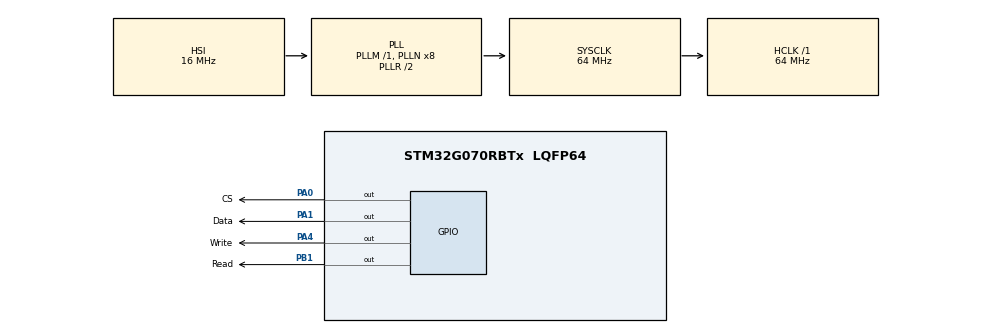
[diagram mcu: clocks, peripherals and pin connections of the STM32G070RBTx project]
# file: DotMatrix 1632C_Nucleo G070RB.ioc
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Mcu.Family=STM32G0
Mcu.Name=STM32G070RBTx
Mcu.Package=LQFP64
PA0.GPIO_Label=CS
PA0.GPIO_ModeDefaultOutputPP=GPIO_MODE_OUTPUT_PP
PA0.GPIO_PuPd=GPIO_NOPULL
PA0.Signal=GPIO_Output
PA1.GPIO_Label=Data
PA1.GPIO_ModeDefaultOutputPP=GPIO_MODE_OUTPUT_PP
PA1.GPIO_PuPd=GPIO_NOPULL
PA1.Signal=GPIO_Output
PA4.GPIO_Label=Write
PA4.GPIO_ModeDefaultOutputPP=GPIO_MODE_OUTPUT_PP
PA4.GPIO_PuPd=GPIO_NOPULL
PA4.Signal=GPIO_Output
PB1.GPIO_Label=Read
PB1.GPIO_ModeDefaultOutputPP=GPIO_MODE_OUTPUT_PP
PB1.GPIO_PuPd=GPIO_NOPULL
PB1.Signal=GPIO_Output
PC14-OSC32_IN\ (PC14).Mode=LSE-External-Oscillator
PC14-OSC32_IN\ (PC14).Signal=RCC_OSC32_IN
PC15-OSC32_OUT\ (PC15).Mode=LSE-External-Oscillator
PC15-OSC32_OUT\ (PC15).Signal=RCC_OSC32_OUT
PF0-OSC_IN\ (PF0).Mode=HSE-External-Oscillator
PF0-OSC_IN\ (PF0).Signal=RCC_OSC_IN
PF1-OSC_OUT\ (PF1).Mode=HSE-External-Oscillator
PF1-OSC_OUT\ (PF1).Signal=RCC_OSC_OUT
ProjectManager.HeapSize=0x200
ProjectManager.StackSize=0x400
ProjectManager.TargetToolchain=MDK-ARM V5.27
RCC.ADCFreq_Value=64000000
RCC.AHBFreq_Value=64000000
RCC.CortexFreq_Value=64000000
RCC.EXTERNAL_CLOCK_VALUE=48000
RCC.HCLKFreq_Value=64000000
RCC.HSE_VALUE=8000000
RCC.HSI_VALUE=16000000
RCC.RTCClockSelection=RCC_RTCCLKSOURCE_LSE
RCC.SYSCLKFreq_VALUE=64000000
RCC.SYSCLKSource=RCC_SYSCLKSOURCE_PLLCLK
RCC.VCOOutputFreq_Value=128000000
TIM1.Prescaler=64-1
VP_RTC_VS_RTC_Activate.Mode=RTC_Enabled
VP_RTC_VS_RTC_Calendar.Mode=RTC_Calendar
VP_SYS_VS_DBSignals.Mode=DisableDeadBatterySignals
VP_TIM1_VS_ClockSourceINT.Mode=Internal
board=custom

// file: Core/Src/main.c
/* USER CODE BEGIN Header */
/**
  ******************************************************************************
  * @file           : main.c
  * @brief          : Main program body
  ******************************************************************************
  * @attention
  *
  * <h2><center>&copy; Copyright (c) 2022 STMicroelectronics.
  * All rights reserved.</center></h2>
  *
  * This software component is licensed by ST under BSD 3-Clause license,
  * the "License"; You may not use this file except in compliance with the
  * License. You may obtain a copy of the License at:
  *                        opensource.org/licenses/BSD-3-Clause
  *
  ******************************************************************************
  */
/* USER CODE END Header */
#include "main.h"

/* USER CODE BEGIN Includes */
#include "stdio.h"
/* USER CODE END Includes */

/* USER CODE BEGIN PTD */
#ifdef __GNUC__
  /* With GCC, small printf (option LD Linker->Libraries->Small printf
     set to 'Yes') calls __io_putchar() */
  #define PUTCHAR_PROTOTYPE int __io_putchar(int ch)
#else
  #define PUTCHAR_PROTOTYPE int fputc(int ch, FILE *f)
#endif /* __GNUC__ */
/* USER CODE END PTD */

RTC_HandleTypeDef hrtc;

TIM_HandleTypeDef htim1;

/* USER CODE BEGIN PV */

// Block Segment
uint16_t firstSeg[] = {0xfe, 0xfe, 0x35, 0x31, 0x2d, 0x29, 0x25, 0x21, 0x1d, 0x19, 0x15, 0x11, 0x0d, 0x09, 0x05, 0x01};
uint16_t secSeg[] 	= {0xfe, 0xfe, 0x34, 0x30, 0x2c, 0x28, 0x24, 0x20, 0x1c, 0x18, 0x14, 0x10, 0x0c, 0x08, 0x04, 0x00};

// Variables for time
uint8_t jam = 0, menit = 0, detik = 0;
char time[10];
char date[10];
RTC_DateTypeDef gDate;
RTC_TimeTypeDef gTime;
/* USER CODE END PV */

void SystemClock_Config(void);
static void MX_GPIO_Init(void);
static void MX_TIM1_Init(void);
static void MX_RTC_Init(void);
/* USER CODE BEGIN PFP */
// Function for sending data to HT1632C
void delay_us (uint16_t us);
void CS();
void CMD_100_Command(uint16_t byte);
void CMD_101_Write(uint16_t byte, uint8_t data);
void clear101();
void init();
uint16_t convertNumber(int num);

// Function for timer
void displayHour(uint8_t hr);
void displayMinSec(uint8_t min, uint8_t sec);
void setTime(void);
void get_time(void) ;
void initTime(uint8_t hr, uint8_t mn, uint8_t sec);
/* USER CODE END PFP */

/* USER CODE BEGIN 0 */
void initTime(uint8_t hr, uint8_t mn, uint8_t sec)
{
	jam   = hr;
	menit = mn;
	detik	= sec;
}

void setTime(void)
{
  RTC_TimeTypeDef sTime = {0};
  RTC_DateTypeDef sDate = {0};

  sTime.Hours = 0x15;
  sTime.Minutes = 0x40;
  sTime.Seconds = 0x0;
  sTime.SubSeconds = 0x0;
  sTime.DayLightSaving = RTC_DAYLIGHTSAVING_NONE;
  sTime.StoreOperation = RTC_STOREOPERATION_RESET;
  if (HAL_RTC_SetTime(&hrtc, &sTime, RTC_FORMAT_BCD) != HAL_OK)
  {
    Error_Handler();
  }
  sDate.WeekDay = RTC_WEEKDAY_FRIDAY;
  sDate.Month = RTC_MONTH_AUGUST;
  sDate.Date = 0x19;
  sDate.Year = 0x22;

  if (HAL_RTC_SetDate(&hrtc, &sDate, RTC_FORMAT_BCD) != HAL_OK)
  {
    Error_Handler();
  }
}

void get_time(void)
{
	/* Get the RTC current Time */
	HAL_RTC_GetTime(&hrtc, &gTime, RTC_FORMAT_BIN);
	/* Get the RTC current Date */
	HAL_RTC_GetDate(&hrtc, &gDate, RTC_FORMAT_BIN);
	/* Display time Format: hh:mm:ss */
	sprintf((char*)time,"%02d:%02d:%02d",gTime.Hours, gTime.Minutes, gTime.Seconds);
	/* Display date Format: dd-mm-yy */
	sprintf((char*)date,"%02d-%02d-%2d",gDate.Date, gDate.Month, 2000 + gDate.Year);
}

/* USER CODE END 0 */

int main(void)
{

  /* MCU Configuration--------------------------------------------------------*/

  /* Reset of all peripherals, Initializes the Flash interface and the Systick. */
  HAL_Init();

  /* Configure the system clock */
  SystemClock_Config();

  /* Initialize all configured peripherals */
  MX_GPIO_Init();
  MX_TIM1_Init();
  MX_RTC_Init();
  /* USER CODE BEGIN 2 */
	HAL_TIM_Base_Start(&htim1);			// Start timer 1 for delay_Us function
	init();													// Initialize display

	// Set time
	if (HAL_RTCEx_BKUPRead(&hrtc, RTC_BKP_DR1) != 0x32f2)
	{
		setTime();
	}
  /* USER CODE END 2 */

  /* Infinite loop */
  while (1)
  {

    /* USER CODE BEGIN 3 */
		CMD_101_Write(0xe, 0x2);			// Titik dua kiri
		CMD_101_Write(0x12, 0x2);			// Titik dua kanan

		get_time();

		displayMinSec(gTime.Minutes, gTime.Seconds);
		displayHour(gTime.Hours);

		detik++;
		if (detik == 60)
		{
			detik = 0;
			menit++;
		}
		else if (menit == 60)
		{
			detik = 0;
			menit = 0;
			jam++;
		}
		else if (jam == 24)
		{
			jam = 0;
			menit = 0;
			detik++;
		}
		HAL_Delay(1000);
  }
  /* USER CODE END 3 */
}

void SystemClock_Config(void)
{
  RCC_OscInitTypeDef RCC_OscInitStruct = {0};
  RCC_ClkInitTypeDef RCC_ClkInitStruct = {0};
  RCC_PeriphCLKInitTypeDef PeriphClkInit = {0};

  /** Configure the main internal regulator output voltage
  */
  HAL_PWREx_ControlVoltageScaling(PWR_REGULATOR_VOLTAGE_SCALE1);
  /** Configure LSE Drive Capability
  */
  HAL_PWR_EnableBkUpAccess();
  __HAL_RCC_LSEDRIVE_CONFIG(RCC_LSEDRIVE_LOW);
  /** Initializes the RCC Oscillators according to the specified parameters
  * in the RCC_OscInitTypeDef structure.
  */
  RCC_OscInitStruct.OscillatorType = RCC_OSCILLATORTYPE_HSI|RCC_OSCILLATORTYPE_LSE;
  RCC_OscInitStruct.LSEState = RCC_LSE_ON;
  RCC_OscInitStruct.HSIState = RCC_HSI_ON;
  RCC_OscInitStruct.HSIDiv = RCC_HSI_DIV1;
  RCC_OscInitStruct.HSICalibrationValue = RCC_HSICALIBRATION_DEFAULT;
  RCC_OscInitStruct.PLL.PLLState = RCC_PLL_ON;
  RCC_OscInitStruct.PLL.PLLSource = RCC_PLLSOURCE_HSI;
  RCC_OscInitStruct.PLL.PLLM = RCC_PLLM_DIV1;
  RCC_OscInitStruct.PLL.PLLN = 8;
  RCC_OscInitStruct.PLL.PLLP = RCC_PLLP_DIV2;
  RCC_OscInitStruct.PLL.PLLR = RCC_PLLR_DIV2;
  if (HAL_RCC_OscConfig(&RCC_OscInitStruct) != HAL_OK)
  {
    Error_Handler();
  }
  /** Initializes the CPU, AHB and APB buses clocks
  */
  RCC_ClkInitStruct.ClockType = RCC_CLOCKTYPE_HCLK|RCC_CLOCKTYPE_SYSCLK
                              |RCC_CLOCKTYPE_PCLK1;
  RCC_ClkInitStruct.SYSCLKSource = RCC_SYSCLKSOURCE_PLLCLK;
  RCC_ClkInitStruct.AHBCLKDivider = RCC_SYSCLK_DIV1;
  RCC_ClkInitStruct.APB1CLKDivider = RCC_HCLK_DIV1;

  if (HAL_RCC_ClockConfig(&RCC_ClkInitStruct, FLASH_LATENCY_2) != HAL_OK)
  {
    Error_Handler();
  }
  /** Initializes the peripherals clocks
  */
  PeriphClkInit.PeriphClockSelection = RCC_PERIPHCLK_RTC;
  PeriphClkInit.RTCClockSelection = RCC_RTCCLKSOURCE_LSE;

  if (HAL_RCCEx_PeriphCLKConfig(&PeriphClkInit) != HAL_OK)
  {
    Error_Handler();
  }
}

static void MX_RTC_Init(void)
{

  /** Initialize RTC Only
  */
  hrtc.Instance = RTC;
  hrtc.Init.HourFormat = RTC_HOURFORMAT_24;
  hrtc.Init.AsynchPrediv = 127;
  hrtc.Init.SynchPrediv = 255;
  hrtc.Init.OutPut = RTC_OUTPUT_DISABLE;
  hrtc.Init.OutPutRemap = RTC_OUTPUT_REMAP_NONE;
  hrtc.Init.OutPutPolarity = RTC_OUTPUT_POLARITY_HIGH;
  hrtc.Init.OutPutType = RTC_OUTPUT_TYPE_OPENDRAIN;
  hrtc.Init.OutPutPullUp = RTC_OUTPUT_PULLUP_NONE;
  if (HAL_RTC_Init(&hrtc) != HAL_OK)
  {
    Error_Handler();
  }

}

static void MX_TIM1_Init(void)
{

  TIM_ClockConfigTypeDef sClockSourceConfig = {0};
  TIM_MasterConfigTypeDef sMasterConfig = {0};

  htim1.Instance = TIM1;
  htim1.Init.Prescaler = 64-1;
  htim1.Init.CounterMode = TIM_COUNTERMODE_UP;
  htim1.Init.Period = 65535;
  htim1.Init.ClockDivision = TIM_CLOCKDIVISION_DIV1;
  htim1.Init.RepetitionCounter = 0;
  htim1.Init.AutoReloadPreload = TIM_AUTORELOAD_PRELOAD_DISABLE;
  if (HAL_TIM_Base_Init(&htim1) != HAL_OK)
  {
    Error_Handler();
  }
  sClockSourceConfig.ClockSource = TIM_CLOCKSOURCE_INTERNAL;
  if (HAL_TIM_ConfigClockSource(&htim1, &sClockSourceConfig) != HAL_OK)
  {
    Error_Handler();
  }
  sMasterConfig.MasterOutputTrigger = TIM_TRGO_RESET;
  sMasterConfig.MasterOutputTrigger2 = TIM_TRGO2_RESET;
  sMasterConfig.MasterSlaveMode = TIM_MASTERSLAVEMODE_DISABLE;
  if (HAL_TIMEx_MasterConfigSynchronization(&htim1, &sMasterConfig) != HAL_OK)
  {
    Error_Handler();
  }

}

static void MX_GPIO_Init(void)
{
  GPIO_InitTypeDef GPIO_InitStruct = {0};

  /* GPIO Ports Clock Enable */
  __HAL_RCC_GPIOC_CLK_ENABLE();
  __HAL_RCC_GPIOF_CLK_ENABLE();
  __HAL_RCC_GPIOA_CLK_ENABLE();
  __HAL_RCC_GPIOB_CLK_ENABLE();

  /*Configure GPIO pin Output Level */
  HAL_GPIO_WritePin(GPIOA, CS_Pin|Data_Pin|Write_Pin, GPIO_PIN_RESET);

  /*Configure GPIO pin Output Level */
  HAL_GPIO_WritePin(Read_GPIO_Port, Read_Pin, GPIO_PIN_RESET);

  /*Configure GPIO pins : CS_Pin Data_Pin Write_Pin */
  GPIO_InitStruct.Pin = CS_Pin|Data_Pin|Write_Pin;
  GPIO_InitStruct.Mode = GPIO_MODE_OUTPUT_PP;
  GPIO_InitStruct.Pull = GPIO_NOPULL;
  GPIO_InitStruct.Speed = GPIO_SPEED_FREQ_LOW;
  HAL_GPIO_Init(GPIOA, &GPIO_InitStruct);

  /*Configure GPIO pin : Read_Pin */
  GPIO_InitStruct.Pin = Read_Pin;
  GPIO_InitStruct.Mode = GPIO_MODE_OUTPUT_PP;
  GPIO_InitStruct.Pull = GPIO_NOPULL;
  GPIO_InitStruct.Speed = GPIO_SPEED_FREQ_LOW;
  HAL_GPIO_Init(Read_GPIO_Port, &GPIO_InitStruct);

}

/* USER CODE BEGIN 4 */

void displayHour(uint8_t hr)
{
	uint8_t value;
	uint16_t puluhanJam = convertNumber((hr/10)%10);
	uint16_t satuanJam = convertNumber(hr%10);
	uint16_t charM = Char_M;
	uint16_t charA = Char_A;
	uint16_t charP = Char_P;

	for(int i=0; i<16; i++)
	{
		if 							(satuanJam&0x01) 			{value |= 1;}
		else 																	{value |= 0;}
		value <<=3;

		if 							(puluhanJam&0x01) 		{value |= 4;}
		else 																	{value |= 0;}

		if 							(charM&0x01) 					{value |= 2;}
		else																	{value |= 0;}

		if (hr >= 12)
		{	if 							(charP&0x01) 					{value |= 1;}
			else																	{value |= 0;}	}
		else if (hr < 12)
		{	if 							(charA&0x01) 					{value |= 1;}
			else																	{value |= 0;}	}

		CMD_101_Write(secSeg[i], value);
		charM >>= 1;
		charA >>= 1;
		charP >>= 1;
		puluhanJam >>= 1;
		satuanJam >>= 1;
		value = 0;
	}
}

void displayMinSec(uint8_t min, uint8_t sec)
{
	uint8_t value;			// Data will be send to address
	uint16_t puluhanMenit = convertNumber((min/10)%10);
	uint16_t satuanMenit = convertNumber(min%10);
	uint16_t puluhanDetik = convertNumber((sec/10)%10);
	uint16_t satuanDetik = convertNumber(sec%10);

	for (int i=0; i<16; i++)
	{
		if 							(satuanDetik&0x01)		{value |= 1;}
		else 																	{value |= 0;}
		value <<= 1;

		if 							(puluhanDetik&0x01) 	{value |= 1;}
		else 																	{value |= 0;}
		value <<=1;

		if 							(satuanMenit&0x01) 		{value |= 1;}
		else 																	{value |= 0;}
		value <<=1;

		if 							(puluhanMenit&0x01) 	{value |= 1;}
		else 																	{value |= 0;}

		CMD_101_Write(firstSeg[i], value);
		puluhanMenit >>= 1;
		satuanMenit >>= 1;
		puluhanDetik >>= 1;
		satuanDetik >>= 1;
		value = 0;
	}
}

uint16_t convertNumber(int num)
{
	uint16_t converted;
	switch (num)
	{
		case (0x00):
			converted = ZERO;
			break;
		case (0x01):
			converted = ONE;
			break;
		case (0x02):
			converted = TWO;
			break;
		case (0x03):
			converted = THREE;
			break;
		case (0x04):
			converted = FOUR;
			break;
		case (0x05):
			converted = FIVE;
			break;
		case (0x06):
			converted = SIX;
			break;
		case (0x07):
			converted = SEVEN;
			break;
		case (0x08):
			converted = EIGHT;
			break;
		case (0x09):
			converted = NINE;
			break;
	}
	return converted;
}

void delay_us (uint16_t us)
{
	__HAL_TIM_SET_COUNTER(&htim1,0);  // set the counter value a 0
	while (__HAL_TIM_GET_COUNTER(&htim1) < us);  // wait for the counter to reach the us input in the parameter
}

void CS()
{
	CS1;
	delay_us(50);
	CS0;
	delay_us(50);
}

void CMD_100_Command(uint16_t byte)
{
	uint8_t id = 0x04;

	CS();
	for (int i=0; i<3; i++)
	{
		writeClk0;
		if ((id&0x04) == 0x04){writePin(GPIOA, GPIO_PIN_1, 1);}
		else {writePin(GPIOA, GPIO_PIN_1, 0);}
		delay_us(50);
		writeClk1;
		delay_us(50);
		id = id >> 1;
	}

	for (int i=0; i<9; i++)
	{
		writeClk0;
		if ((byte & 0x100) ==  0x100)
		{
			writePin(GPIOA, GPIO_PIN_1, 1);
		}
		else
		{
			writePin(GPIOA, GPIO_PIN_1, 0);
		}
		delay_us(50);
		writeClk1;
		byte <<= 1;
		delay_us(50);
	}
}

void CMD_101_Write(uint16_t byte, uint8_t data)
{
	uint8_t id = 0x05;

	CS();
	for (int i=0; i<3; i++)
	{
		writeClk0;
		if ((id&0x01) == 0x01){writePin(GPIOA, GPIO_PIN_1, 1);}
		else {writePin(GPIOA, GPIO_PIN_1, 0);}
		delay_us(50);
		writeClk1;
		delay_us(50);
		id = id >> 1;
	}

	for (int i=0; i<7; i++)
	{
		writeClk0;
		if ((byte&0x40) ==  0x40)
		{
			writePin(GPIOA, GPIO_PIN_1, 1);
		}
		else
		{
			writePin(GPIOA, GPIO_PIN_1, 0);
		}
		delay_us(50);
		writeClk1;
		byte <<= 1;
		delay_us(50);
	}

	for (int i=0; i<4; i++)
	{
		writeClk0;
		if ((data&0x01) == 0x01)
		{
			writePin(GPIOA, GPIO_PIN_1, 1);
		}
		else
		{
			writePin(GPIOA, GPIO_PIN_1, 0);
		}
		delay_us(50);
		writeClk1;
		data = data >> 1;
		delay_us(50);
	}
}

void clear101()
{
	for(int f = 0; f < 95; f++){
		CMD_101_Write(f, 0x0);
	}
}

void init()
{
	CMD_100_Command(sys_dis);
	CMD_100_Command(N_Mos_16COM);
	CMD_100_Command(MasterMode);
	CMD_100_Command(sys_en);
	CMD_100_Command(pwmMax);
	CMD_100_Command(blinkOff);
	CMD_100_Command(led_on);
	clear101();
}
/* USER CODE END 4 */

void Error_Handler(void)
{
  __disable_irq();
  while (1)
  {
  }
}

/************************ (C) COPYRIGHT STMicroelectronics *****END OF FILE****/
